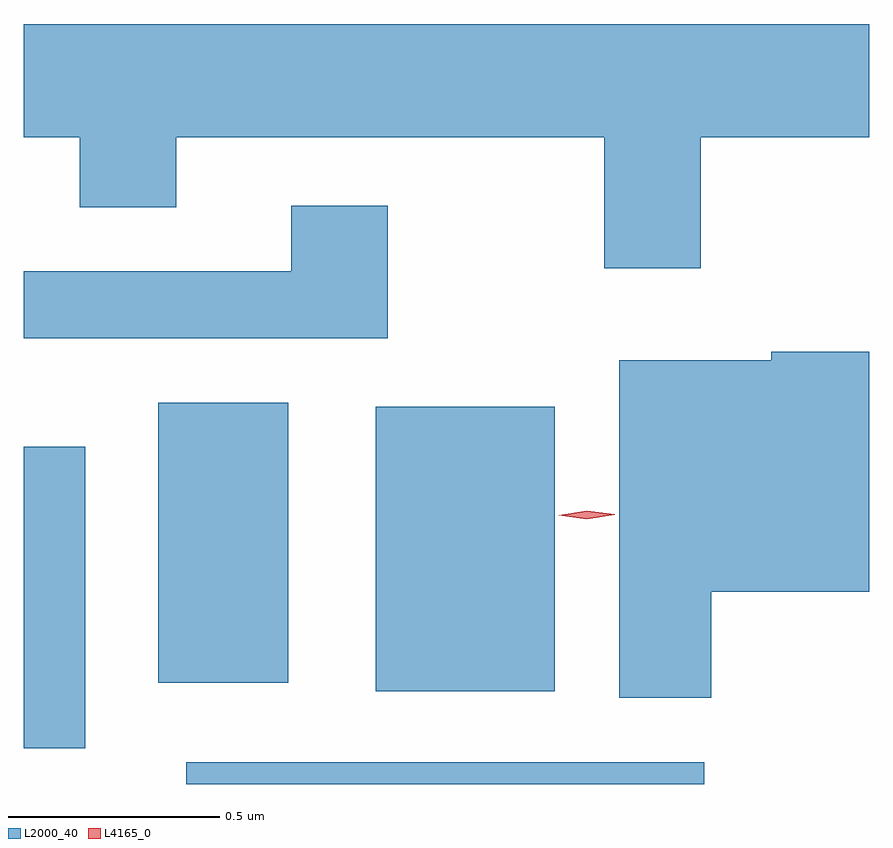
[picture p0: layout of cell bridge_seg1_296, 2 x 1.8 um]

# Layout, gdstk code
import gdstk
lib = gdstk.Library(unit=1e-6, precision=1e-09)
def R(c, l, rs):  # rectangles x0, y0, x1, y1
    for r in rs: c.add(gdstk.rectangle(r[:2], r[2:], *l))
def P(c, l, *ps):  # polygons
    for p in ps: c.add(gdstk.Polygon(p, *l))
L2000_40 = (2000, 40)
L4165_0 = (4165, 0)

bridge_seg1_296 = lib.new_cell('bridge_seg1_296')
R(bridge_seg1_296, L2000_40, [(886.543,891.387,887.768,891.439), (886.158,891.471,886.304,892.184), (886.991,891.606,887.414,892.279), (886.476,891.626,886.784,892.289)])
P(bridge_seg1_296, L2000_40, [(887.759,892.916),(888.158,892.916),(888.158,893.184),(886.158,893.184),(886.158,892.916),(886.291,892.916),(886.291,892.751),(886.519,892.751),(886.519,892.916),(887.531,892.916),(887.531,892.606),(887.759,892.606)],
  [(887.019,892.754),(886.791,892.754),(886.791,892.599),(886.158,892.599),(886.158,892.441),(887.019,892.441)],
  [(887.784,891.841),(888.158,891.841),(888.158,892.409),(887.926,892.409),(887.926,892.389),(887.566,892.389),(887.566,891.591),(887.784,891.591)])
P(bridge_seg1_296, L4165_0, [(887.49,892.013),(887.424,892.022),(887.423,892.023),(887.424,892.023),(887.49,892.033),(887.556,892.025),(887.556,892.024),(887.556,892.024)])

lib.write_gds('bridge_seg1_296.gds')
